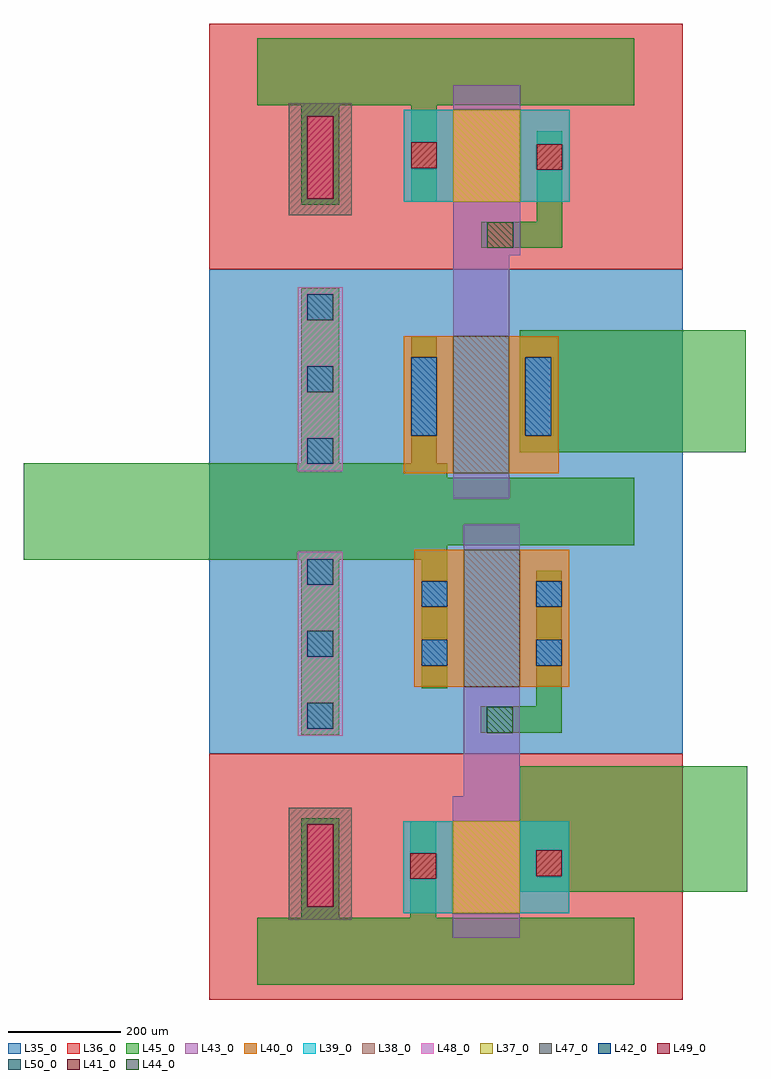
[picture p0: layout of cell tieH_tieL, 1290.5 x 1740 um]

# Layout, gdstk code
import gdstk
lib = gdstk.Library(unit=1e-6, precision=1e-09)
def R(c, l, rs):  # rectangles x0, y0, x1, y1
    for r in rs: c.add(gdstk.rectangle(r[:2], r[2:], *l))
def A(c, l, x, y, w, h, nx, ny, dx, dy):  # array of equal rectangles
    R(c, l, [(x+i*dx, y+j*dy, x+i*dx+w, y+j*dy+h) for i in range(nx) for j in range(ny)])
def P(c, l, *ps):  # polygons
    for p in ps: c.add(gdstk.Polygon(p, *l))
L35_0 = (35, 0)
L36_0 = (36, 0)
L37_0 = (37, 0)
L38_0 = (38, 0)
L39_0 = (39, 0)
L40_0 = (40, 0)
L41_0 = (41, 0)
L42_0 = (42, 0)
L43_0 = (43, 0)
L44_0 = (44, 0)
L45_0 = (45, 0)
L47_0 = (47, 0)
L48_0 = (48, 0)
L49_0 = (49, 0)
L50_0 = (50, 0)

gf180mcu_fd_sc_mcu7t5v0_ = lib.new_cell('gf180mcu_fd_sc_mcu7t5v0__tieh')
R(gf180mcu_fd_sc_mcu7t5v0_, L35_0, [(-86,352,534,870)])
R(gf180mcu_fd_sc_mcu7t5v0_, L36_0, [(-86,-86,534,352)])
R(gf180mcu_fd_sc_mcu7t5v0_, L37_0, [(125,68,245,232)])
R(gf180mcu_fd_sc_mcu7t5v0_, L38_0, [(125,472,225,716)])
P(gf180mcu_fd_sc_mcu7t5v0_, L39_0, [(37,68),(37,172),(50,172),(50,126),(96,126),(96,172),(37,172),(37,232),(125,232),(125,68)],
  [(245,68),(245,175),(274,175),(274,129),(320,129),(320,175),(245,175),(245,232),(333,232),(333,68)])
P(gf180mcu_fd_sc_mcu7t5v0_, L40_0, [(37,472),(37,649),(50,649),(50,509),(96,509),(96,649),(37,649),(37,716),(125,716),(125,472)],
  [(225,472),(225,649),(254,649),(254,509),(300,509),(300,649),(225,649),(225,716),(313,716),(313,472)])
R(gf180mcu_fd_sc_mcu7t5v0_, L41_0, [(50,126,96,172), (274,129,320,175)])
R(gf180mcu_fd_sc_mcu7t5v0_, L42_0, [(50,509,96,649), (254,509,300,649)])
R(gf180mcu_fd_sc_mcu7t5v0_, L43_0, [(125,24,245,68), (125,716,225,760)])
P(gf180mcu_fd_sc_mcu7t5v0_, L43_0, [(125,232),(125,314),(186,314),(186,268),(232,268),(232,314),(125,314),(125,472),(225,472),(225,327),(245,327),(245,232)])
R(gf180mcu_fd_sc_mcu7t5v0_, L44_0, [(186,268,232,314)])
R(gf180mcu_fd_sc_mcu7t5v0_, L45_0, [(274,106,320,129), (50,172,96,232), (50,472,96,509)])
P(gf180mcu_fd_sc_mcu7t5v0_, L45_0, [(0,-60),(0,60),(50,60),(50,126),(96,126),(96,60),(448,60),(448,-60)],
  [(274,175),(274,267),(175,267),(175,314),(186,314),(186,268),(232,268),(232,314),(320,314),(320,175)],
  [(244,461),(244,649),(254,649),(254,509),(300,509),(300,649),(244,649),(244,678),(316,678),(316,461)],
  [(50,649),(50,724),(0,724),(0,844),(448,844),(448,724),(96,724),(96,649)])
gf180mcu_fd_sc_mcu7t5v0_.add(gdstk.Label('VDD', (73,724), layer=45, texttype=0))
gf180mcu_fd_sc_mcu7t5v0_.add(gdstk.Label('VSS', (224,60), layer=45, texttype=0))

c_gf180mcu_fd_sc_mcu7t5v0_ = lib.new_cell('gf180mcu_fd_sc_mcu7t5v0__tiel')
R(c_gf180mcu_fd_sc_mcu7t5v0_, L35_0, [(-705.07,367.43,-85.07,885.43)])
R(c_gf180mcu_fd_sc_mcu7t5v0_, L36_0, [(-705.07,-70.57,-85.07,367.43)])
R(c_gf180mcu_fd_sc_mcu7t5v0_, L37_0, [(-495.07,83.43,-375.07,247.43)])
R(c_gf180mcu_fd_sc_mcu7t5v0_, L38_0, [(-475.07,487.43,-375.07,731.43)])
P(c_gf180mcu_fd_sc_mcu7t5v0_, L39_0, [(-583.07,83.43),(-583.07,190.43),(-570.07,190.43),(-570.07,144.43),(-524.07,144.43),(-524.07,190.43),(-583.07,190.43),(-583.07,247.43),(-495.07,247.43),(-495.07,83.43)],
  [(-375.07,83.43),(-375.07,195.43),(-346.07,195.43),(-346.07,149.43),(-300.07,149.43),(-300.07,195.43),(-375.07,195.43),(-375.07,247.43),(-287.07,247.43),(-287.07,83.43)])
P(c_gf180mcu_fd_sc_mcu7t5v0_, L40_0, [(-563.07,487.43),(-563.07,570.43),(-550.07,570.43),(-550.07,524.43),(-504.07,524.43),(-504.07,570.43),(-563.07,570.43),(-563.07,675.43),(-550.07,675.43),(-550.07,629.43),(-504.07,629.43),(-504.07,675.43),(-563.07,675.43),(-563.07,731.43),(-475.07,731.43),(-475.07,487.43)],
  [(-375.07,487.43),(-375.07,570.43),(-346.07,570.43),(-346.07,524.43),(-300.07,524.43),(-300.07,570.43),(-375.07,570.43),(-375.07,675.43),(-346.07,675.43),(-346.07,629.43),(-300.07,629.43),(-300.07,675.43),(-375.07,675.43),(-375.07,731.43),(-287.07,731.43),(-287.07,487.43)])
R(c_gf180mcu_fd_sc_mcu7t5v0_, L41_0, [(-570.07,144.43,-524.07,190.43), (-346.07,149.43,-300.07,195.43)])
R(c_gf180mcu_fd_sc_mcu7t5v0_, L42_0, [(-550.07,524.43,-504.07,570.43), (-346.07,524.43,-300.07,570.43), (-550.07,629.43,-504.07,675.43), (-346.07,629.43,-300.07,675.43)])
R(c_gf180mcu_fd_sc_mcu7t5v0_, L43_0, [(-495.07,39.43,-375.07,83.43), (-475.07,731.43,-375.07,775.43)])
P(c_gf180mcu_fd_sc_mcu7t5v0_, L43_0, [(-495.07,247.43),(-495.07,291.43),(-475.07,291.43),(-475.07,451.43),(-434.07,451.43),(-434.07,405.43),(-388.07,405.43),(-388.07,451.43),(-475.07,451.43),(-475.07,487.43),(-375.07,487.43),(-375.07,247.43)])
R(c_gf180mcu_fd_sc_mcu7t5v0_, L44_0, [(-434.07,405.43,-388.07,451.43)])
R(c_gf180mcu_fd_sc_mcu7t5v0_, L45_0, [(-570.07,190.43,-524.07,247.43), (-550.07,484.43,-504.07,524.43), (-550.07,570.43,-504.07,629.43), (-346.07,570.43,-300.07,629.43), (-346.07,675.43,-300.07,693.43)])
P(c_gf180mcu_fd_sc_mcu7t5v0_, L45_0, [(-619.07,-44.57),(-619.07,75.43),(-570.07,75.43),(-570.07,144.43),(-524.07,144.43),(-524.07,75.43),(-171.07,75.43),(-171.07,-44.57)],
  [(-375.07,121.43),(-375.07,345.43),(-300.07,345.43),(-300.07,195.43),(-346.07,195.43),(-346.07,149.43),(-300.07,149.43),(-300.07,121.43)],
  [(-445.07,405.43),(-445.07,452.43),(-346.07,452.43),(-346.07,524.43),(-300.07,524.43),(-300.07,405.43),(-388.07,405.43),(-388.07,451.43),(-434.07,451.43),(-434.07,405.43)],
  [(-550.07,675.43),(-550.07,739.43),(-619.07,739.43),(-619.07,859.43),(-171.07,859.43),(-171.07,739.43),(-504.07,739.43),(-504.07,675.43)])
c_gf180mcu_fd_sc_mcu7t5v0_.add(gdstk.Label('VDD', (-527.07,739.43), layer=45, texttype=0))
c_gf180mcu_fd_sc_mcu7t5v0_.add(gdstk.Label('VSS', (-395.07,75.43), layer=45, texttype=0))

c_gf180mcu_fd_sc_mcu7t5v0__ = lib.new_cell('gf180mcu_fd_sc_mcu7t5v0__filltie$1')
R(c_gf180mcu_fd_sc_mcu7t5v0__, L35_0, [(444.46,432.485,840.46,950.485)])
R(c_gf180mcu_fd_sc_mcu7t5v0__, L36_0, [(444.46,-5.515,840.46,432.485)])
P(c_gf180mcu_fd_sc_mcu7t5v0__, L45_0, [(530.46,20.485),(530.46,140.485),(608.46,140.485),(608.46,306.485),(619.46,306.485),(619.46,159.485),(665.46,159.485),(665.46,306.485),(608.46,306.485),(608.46,317.485),(676.46,317.485),(676.46,140.485),(754.46,140.485),(754.46,20.485)],
  [(608.46,466.485),(608.46,523.485),(619.46,523.485),(619.46,477.485),(665.46,477.485),(665.46,523.485),(608.46,523.485),(608.46,651.485),(619.46,651.485),(619.46,605.485),(665.46,605.485),(665.46,651.485),(608.46,651.485),(608.46,779.485),(619.46,779.485),(619.46,733.485),(665.46,733.485),(665.46,779.485),(608.46,779.485),(608.46,804.485),(530.46,804.485),(530.46,924.485),(754.46,924.485),(754.46,804.485),(676.46,804.485),(676.46,466.485)])
P(c_gf180mcu_fd_sc_mcu7t5v0__, L47_0, [(586.46,136.485),(586.46,306.485),(619.46,306.485),(619.46,159.485),(665.46,159.485),(665.46,306.485),(586.46,306.485),(586.46,336.485),(698.46,336.485),(698.46,136.485)])
P(c_gf180mcu_fd_sc_mcu7t5v0__, L48_0, [(602.46,464.485),(602.46,523.485),(619.46,523.485),(619.46,477.485),(665.46,477.485),(665.46,523.485),(602.46,523.485),(602.46,651.485),(619.46,651.485),(619.46,605.485),(665.46,605.485),(665.46,651.485),(602.46,651.485),(602.46,779.485),(619.46,779.485),(619.46,733.485),(665.46,733.485),(665.46,779.485),(602.46,779.485),(602.46,792.485),(682.46,792.485),(682.46,464.485)])
R(c_gf180mcu_fd_sc_mcu7t5v0__, L49_0, [(619.46,159.485,665.46,306.485)])
A(c_gf180mcu_fd_sc_mcu7t5v0__, L50_0, 619.46, 477.485, 46, 46, 1, 3, 0, 128)
c_gf180mcu_fd_sc_mcu7t5v0__.add(gdstk.Label('VDD', (642.46,804.485), layer=45, texttype=0))
c_gf180mcu_fd_sc_mcu7t5v0__.add(gdstk.Label('VSS', (642.46,140.485), layer=45, texttype=0))

c_gf180mcu_fd_sc_mcu7t5v0___ = lib.new_cell('gf180mcu_fd_sc_mcu7t5v0__filltie')
R(c_gf180mcu_fd_sc_mcu7t5v0___, L35_0, [(1395.23,-20.68,1791.23,497.32)])
R(c_gf180mcu_fd_sc_mcu7t5v0___, L36_0, [(1395.23,497.32,1791.23,935.32)])
P(c_gf180mcu_fd_sc_mcu7t5v0___, L45_0, [(1559.23,612.32),(1559.23,623.32),(1616.23,623.32),(1616.23,770.32),(1570.23,770.32),(1570.23,623.32),(1559.23,623.32),(1559.23,789.32),(1481.23,789.32),(1481.23,909.32),(1705.23,909.32),(1705.23,789.32),(1627.23,789.32),(1627.23,612.32)],
  [(1481.23,5.32),(1481.23,125.32),(1559.23,125.32),(1559.23,150.32),(1616.23,150.32),(1616.23,196.32),(1570.23,196.32),(1570.23,150.32),(1559.23,150.32),(1559.23,278.32),(1616.23,278.32),(1616.23,324.32),(1570.23,324.32),(1570.23,278.32),(1559.23,278.32),(1559.23,406.32),(1616.23,406.32),(1616.23,452.32),(1570.23,452.32),(1570.23,406.32),(1559.23,406.32),(1559.23,463.32),(1627.23,463.32),(1627.23,125.32),(1705.23,125.32),(1705.23,5.32)])
P(c_gf180mcu_fd_sc_mcu7t5v0___, L47_0, [(1537.23,593.32),(1537.23,623.32),(1616.23,623.32),(1616.23,770.32),(1570.23,770.32),(1570.23,623.32),(1537.23,623.32),(1537.23,793.32),(1649.23,793.32),(1649.23,593.32)])
P(c_gf180mcu_fd_sc_mcu7t5v0___, L48_0, [(1553.23,137.32),(1553.23,150.32),(1616.23,150.32),(1616.23,196.32),(1570.23,196.32),(1570.23,150.32),(1553.23,150.32),(1553.23,278.32),(1616.23,278.32),(1616.23,324.32),(1570.23,324.32),(1570.23,278.32),(1553.23,278.32),(1553.23,406.32),(1616.23,406.32),(1616.23,452.32),(1570.23,452.32),(1570.23,406.32),(1553.23,406.32),(1553.23,465.32),(1633.23,465.32),(1633.23,137.32)])
R(c_gf180mcu_fd_sc_mcu7t5v0___, L49_0, [(1570.23,623.32,1616.23,770.32)])
A(c_gf180mcu_fd_sc_mcu7t5v0___, L50_0, 1570.23, 150.32, 46, 46, 1, 3, 0, 128)
c_gf180mcu_fd_sc_mcu7t5v0___.add(gdstk.Label('VDD', (1593.23,125.32), layer=45, texttype=0))
c_gf180mcu_fd_sc_mcu7t5v0___.add(gdstk.Label('VSS', (1593.23,789.32), layer=45, texttype=0))

tieh_tiel = lib.new_cell('tieH_tieL')
R(tieh_tiel, L45_0, [(319,-678,649.75,-454), (-640.75,-86,115,86), (316,106,646.75,323)])
tieh_tiel.add(gdstk.Reference(gf180mcu_fd_sc_mcu7t5v0_, (0,784), x_reflection=True))
tieh_tiel.add(gdstk.Reference(c_gf180mcu_fd_sc_mcu7t5v0_, (619.07,-799.43)))
tieh_tiel.add(gdstk.Reference(c_gf180mcu_fd_sc_mcu7t5v0__, (-754.46,-864.485)))
tieh_tiel.add(gdstk.Reference(c_gf180mcu_fd_sc_mcu7t5v0___, (-1705.23,-65.32)))

lib.write_gds('tieH_tieL.gds')
